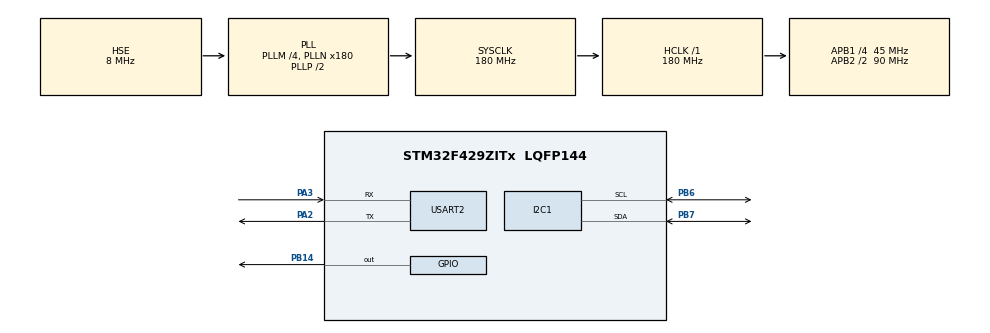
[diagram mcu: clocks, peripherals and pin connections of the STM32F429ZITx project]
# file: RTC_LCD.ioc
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Mcu.Family=STM32F4
Mcu.Name=STM32F429ZITx
Mcu.Package=LQFP144
NVIC.PriorityGroup=NVIC_PRIORITYGROUP_4
NVIC.RTC_Alarm_IRQn=true\:0\:0\:false\:false\:true\:true\:true\:true
PA13.Mode=Serial_Wire
PA13.Signal=SYS_JTMS-SWDIO
PA14.Mode=Serial_Wire
PA14.Signal=SYS_JTCK-SWCLK
PA2.Mode=Asynchronous
PA2.Signal=USART2_TX
PA3.Mode=Asynchronous
PA3.Signal=USART2_RX
PB14.Signal=GPIO_Output
PB6.Mode=I2C
PB6.Signal=I2C1_SCL
PB7.Mode=I2C
PB7.Signal=I2C1_SDA
PH0/OSC_IN.Mode=HSE-External-Oscillator
PH0/OSC_IN.Signal=RCC_OSC_IN
PH1/OSC_OUT.Mode=HSE-External-Oscillator
PH1/OSC_OUT.Signal=RCC_OSC_OUT
ProjectManager.HeapSize=0x200
ProjectManager.StackSize=0x400
ProjectManager.TargetToolchain=STM32CubeIDE
RCC.48MHZClocksFreq_Value=90000000
RCC.AHBFreq_Value=180000000
RCC.APB1CLKDivider=RCC_HCLK_DIV4
RCC.APB1Freq_Value=45000000
RCC.APB1TimFreq_Value=90000000
RCC.APB2CLKDivider=RCC_HCLK_DIV2
RCC.APB2Freq_Value=90000000
RCC.APB2TimFreq_Value=180000000
RCC.CortexFreq_Value=180000000
RCC.HCLKFreq_Value=180000000
RCC.HSE_VALUE=8000000
RCC.HSI_VALUE=16000000
RCC.LSE_VALUE=32768
RCC.PLLM=4
RCC.PLLN=180
RCC.PLLSourceVirtual=RCC_PLLSOURCE_HSE
RCC.SYSCLKFreq_VALUE=180000000
RCC.SYSCLKSource=RCC_SYSCLKSOURCE_PLLCLK
RCC.VCOOutputFreq_Value=360000000
RTC.Alarm=RTC_ALARM_A
RTC.Hours=13
RTC.Hours_A=13
RTC.Minutes=59
RTC.Minutes_A=59
RTC.Seconds=35
RTC.Year=24
USART2.VirtualMode=VM_ASYNC
VP_RTC_VS_RTC_Activate.Mode=RTC_Enabled
VP_RTC_VS_RTC_Alarm_A_Intern.Mode=Alarm A
VP_RTC_VS_RTC_Calendar.Mode=RTC_Calendar
board=custom

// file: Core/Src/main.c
/* USER CODE BEGIN Header */
/**
  ******************************************************************************
  * @file           : main.c
  * @brief          : Main program body
  ******************************************************************************
  * @attention
  *
  * Copyright (c) 2024 STMicroelectronics.
  * All rights reserved.
  *
  * This software is licensed under terms that can be found in the LICENSE file
  * in the root directory of this software component.
  * If no LICENSE file comes with this software, it is provided AS-IS.
  *
  ******************************************************************************
  */
/* USER CODE END Header */
#include "main.h"

/* USER CODE BEGIN Includes */
#include "I2C_LCD.h"
#include "stm32F4xx_hal.h"
#include "stdio.h"

/* USER CODE END Includes */

/* USER CODE BEGIN PTD */

char date[10];
char time[10];

uint8_t alarm = 0;
/* USER CODE END PTD */

I2C_HandleTypeDef hi2c1;

RTC_HandleTypeDef hrtc;

UART_HandleTypeDef huart2;

void SystemClock_Config(void);
static void MX_GPIO_Init(void);
static void MX_I2C1_Init(void);
static void MX_RTC_Init(void);
static void MX_USART2_UART_Init(void);

/* USER CODE BEGIN 0 */

/** Initialize RTC and set the Time and Date
*/
void set_time (void)
{
	RTC_TimeTypeDef sTime = {0};
	RTC_DateTypeDef sDate = {0};

	sTime.Hours = 0x15;
	sTime.Minutes = 0x45;
	sTime.Seconds = 0x00;
	sTime.DayLightSaving = RTC_DAYLIGHTSAVING_NONE;
	sTime.StoreOperation = RTC_STOREOPERATION_RESET;
	if (HAL_RTC_SetTime(&hrtc, &sTime, RTC_FORMAT_BCD) != HAL_OK)
	{
	  Error_Handler();
	}
	sDate.WeekDay = RTC_WEEKDAY_MONDAY;
	sDate.Month = RTC_MONTH_JANUARY;
	sDate.Date = 0x1;
	sDate.Year = 0x24;

	if (HAL_RTC_SetDate(&hrtc, &sDate, RTC_FORMAT_BCD) != HAL_OK)
	{
	  Error_Handler();
	}

	HAL_RTCEx_BKUPWrite(&hrtc, RTC_BKP_DR1, 0x32F4); // backup register
}

void set_alarm (void)
{

	RTC_AlarmTypeDef sAlarm = {0};
	/** Enable the Alarm A
	*/
	sAlarm.AlarmTime.Hours = 0x15;
	sAlarm.AlarmTime.Minutes = 0x48;
	sAlarm.AlarmTime.Seconds = 0x0;
	sAlarm.AlarmTime.SubSeconds = 0x0;
	sAlarm.AlarmTime.DayLightSaving = RTC_DAYLIGHTSAVING_NONE;
	sAlarm.AlarmTime.StoreOperation = RTC_STOREOPERATION_RESET;
	sAlarm.AlarmMask = RTC_ALARMMASK_NONE;
	sAlarm.AlarmSubSecondMask = RTC_ALARMSUBSECONDMASK_ALL;
  sAlarm.AlarmDateWeekDaySel = RTC_ALARMDATEWEEKDAYSEL_DATE;
	sAlarm.AlarmDateWeekDay = 0x1;
	sAlarm.Alarm = RTC_ALARM_A;
	if (HAL_RTC_SetAlarm_IT(&hrtc, &sAlarm, RTC_FORMAT_BCD) != HAL_OK)
	{
	  Error_Handler();
	}
	/* USER CODE BEGIN RTC_Init 2 */
	/* USER CODE END RTC_Init 2 */

}

void get_time (void)
{
	RTC_DateTypeDef gDate;
	RTC_TimeTypeDef gTime;

	/* get the current RTC time */
	HAL_RTC_GetTime(&hrtc, &gTime, RTC_FORMAT_BIN);

	/* get the current RTC Date */
	HAL_RTC_GetDate(&hrtc, &gDate, RTC_FORMAT_BIN);

	/* Display time format : hh:mm:ss */
	sprintf(time, "%02d:%02d:%02d", gTime.Hours, gTime.Minutes, gTime.Seconds);

	/* Display Date format : dd:mm:yy */
	sprintf(date, "%02d:%02d:%02d", gDate.Date, gDate.Month, 2000 + gDate.Year);

}

void lcd_time (void)
{
	lcd_send_cmd(0x80);
	lcd_send_string(time);
	lcd_send_cmd(0xC0);
	lcd_send_string(date);
}

void HAL_RTC_AlarmAEventCallback(RTC_HandleTypeDef *hrtc)
{
	alarm = 1;
}

void Action_On_Alarm (void)
{
	HAL_GPIO_TogglePin(GPIOB, GPIO_PIN_14);
	lcd_send_cmd(0x80);
	lcd_send_string("TIME NOTIFICATION");
	lcd_send_cmd(0xC0);
	lcd_send_string("TIME and DATE");
  HAL_Delay(3000);
    for (int i = 0; i<60; i++)
    {
    	lcd_send_string(" ");
    }
}
/* USER CODE END 0 */

int main(void)
{

  /* MCU Configuration--------------------------------------------------------*/

  /* Reset of all peripherals, Initializes the Flash interface and the Systick. */
  HAL_Init();

  /* Configure the system clock */
  SystemClock_Config();

  /* Initialize all configured peripherals */
  MX_GPIO_Init();
  MX_I2C1_Init();
  MX_RTC_Init();
  MX_USART2_UART_Init();
  /* USER CODE BEGIN 2 */

  lcd_init();

  if(HAL_RTCEx_BKUPRead(&hrtc, RTC_BKP_DR1) != 0x32F4)
  {
	  set_time();  // set the time
  }

  set_alarm();

  /* USER CODE END 2 */

  /* Infinite loop */
  while (1)
  {

    /* USER CODE BEGIN 3 */

	  get_time ();
	  lcd_time ();
	  HAL_Delay (500);

	  if (alarm == 1)
	  {
		  HAL_Delay(3000);
		  Action_On_Alarm();
		  HAL_Delay(3000);
		  alarm = 0;
	  }
  }
  /* USER CODE END 3 */
}

void SystemClock_Config(void)
{
  RCC_OscInitTypeDef RCC_OscInitStruct = {0};
  RCC_ClkInitTypeDef RCC_ClkInitStruct = {0};

  /** Configure the main internal regulator output voltage
  */
  __HAL_RCC_PWR_CLK_ENABLE();
  __HAL_PWR_VOLTAGESCALING_CONFIG(PWR_REGULATOR_VOLTAGE_SCALE1);

  /** Initializes the RCC Oscillators according to the specified parameters
  * in the RCC_OscInitTypeDef structure.
  */
  RCC_OscInitStruct.OscillatorType = RCC_OSCILLATORTYPE_LSI|RCC_OSCILLATORTYPE_HSE;
  RCC_OscInitStruct.HSEState = RCC_HSE_ON;
  RCC_OscInitStruct.LSIState = RCC_LSI_ON;
  RCC_OscInitStruct.PLL.PLLState = RCC_PLL_ON;
  RCC_OscInitStruct.PLL.PLLSource = RCC_PLLSOURCE_HSE;
  RCC_OscInitStruct.PLL.PLLM = 4;
  RCC_OscInitStruct.PLL.PLLN = 180;
  RCC_OscInitStruct.PLL.PLLP = RCC_PLLP_DIV2;
  RCC_OscInitStruct.PLL.PLLQ = 4;
  if (HAL_RCC_OscConfig(&RCC_OscInitStruct) != HAL_OK)
  {
    Error_Handler();
  }

  /** Activate the Over-Drive mode
  */
  if (HAL_PWREx_EnableOverDrive() != HAL_OK)
  {
    Error_Handler();
  }

  /** Initializes the CPU, AHB and APB buses clocks
  */
  RCC_ClkInitStruct.ClockType = RCC_CLOCKTYPE_HCLK|RCC_CLOCKTYPE_SYSCLK
                              |RCC_CLOCKTYPE_PCLK1|RCC_CLOCKTYPE_PCLK2;
  RCC_ClkInitStruct.SYSCLKSource = RCC_SYSCLKSOURCE_PLLCLK;
  RCC_ClkInitStruct.AHBCLKDivider = RCC_SYSCLK_DIV1;
  RCC_ClkInitStruct.APB1CLKDivider = RCC_HCLK_DIV4;
  RCC_ClkInitStruct.APB2CLKDivider = RCC_HCLK_DIV2;

  if (HAL_RCC_ClockConfig(&RCC_ClkInitStruct, FLASH_LATENCY_5) != HAL_OK)
  {
    Error_Handler();
  }
}

static void MX_I2C1_Init(void)
{

  hi2c1.Instance = I2C1;
  hi2c1.Init.ClockSpeed = 100000;
  hi2c1.Init.DutyCycle = I2C_DUTYCYCLE_2;
  hi2c1.Init.OwnAddress1 = 0;
  hi2c1.Init.AddressingMode = I2C_ADDRESSINGMODE_7BIT;
  hi2c1.Init.DualAddressMode = I2C_DUALADDRESS_DISABLE;
  hi2c1.Init.OwnAddress2 = 0;
  hi2c1.Init.GeneralCallMode = I2C_GENERALCALL_DISABLE;
  hi2c1.Init.NoStretchMode = I2C_NOSTRETCH_DISABLE;
  if (HAL_I2C_Init(&hi2c1) != HAL_OK)
  {
    Error_Handler();
  }

  /** Configure Analogue filter
  */
  if (HAL_I2CEx_ConfigAnalogFilter(&hi2c1, I2C_ANALOGFILTER_ENABLE) != HAL_OK)
  {
    Error_Handler();
  }

  /** Configure Digital filter
  */
  if (HAL_I2CEx_ConfigDigitalFilter(&hi2c1, 0) != HAL_OK)
  {
    Error_Handler();
  }

}

static void MX_RTC_Init(void)
{

  /** Initialize RTC Only
  */
  hrtc.Instance = RTC;
  hrtc.Init.HourFormat = RTC_HOURFORMAT_24;
  hrtc.Init.AsynchPrediv = 127;
  hrtc.Init.SynchPrediv = 255;
  hrtc.Init.OutPut = RTC_OUTPUT_DISABLE;
  hrtc.Init.OutPutPolarity = RTC_OUTPUT_POLARITY_HIGH;
  hrtc.Init.OutPutType = RTC_OUTPUT_TYPE_OPENDRAIN;
  if (HAL_RTC_Init(&hrtc) != HAL_OK)
  {
    Error_Handler();
  }

}

static void MX_USART2_UART_Init(void)
{

  huart2.Instance = USART2;
  huart2.Init.BaudRate = 115200;
  huart2.Init.WordLength = UART_WORDLENGTH_8B;
  huart2.Init.StopBits = UART_STOPBITS_1;
  huart2.Init.Parity = UART_PARITY_NONE;
  huart2.Init.Mode = UART_MODE_TX_RX;
  huart2.Init.HwFlowCtl = UART_HWCONTROL_NONE;
  huart2.Init.OverSampling = UART_OVERSAMPLING_16;
  if (HAL_UART_Init(&huart2) != HAL_OK)
  {
    Error_Handler();
  }

}

static void MX_GPIO_Init(void)
{
  GPIO_InitTypeDef GPIO_InitStruct = {0};

  /* GPIO Ports Clock Enable */
  __HAL_RCC_GPIOH_CLK_ENABLE();
  __HAL_RCC_GPIOA_CLK_ENABLE();
  __HAL_RCC_GPIOB_CLK_ENABLE();

  /*Configure GPIO pin Output Level */
  HAL_GPIO_WritePin(GPIOB, GPIO_PIN_14, GPIO_PIN_RESET);

  /*Configure GPIO pin : PB14 */
  GPIO_InitStruct.Pin = GPIO_PIN_14;
  GPIO_InitStruct.Mode = GPIO_MODE_OUTPUT_PP;
  GPIO_InitStruct.Pull = GPIO_NOPULL;
  GPIO_InitStruct.Speed = GPIO_SPEED_FREQ_LOW;
  HAL_GPIO_Init(GPIOB, &GPIO_InitStruct);

}

void Error_Handler(void)
{
  __disable_irq();
  while (1)
  {
  }
}
